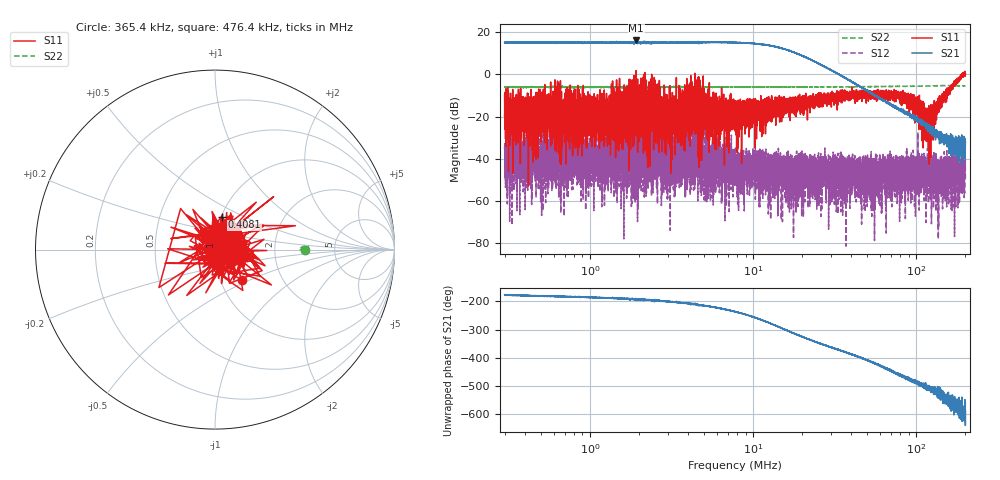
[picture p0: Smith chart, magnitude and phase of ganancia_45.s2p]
# Hz S DB R 50
! CMT, M5065, 19127446, 24.2.4/2
! Date: 11/1/2024 3:39:52 PM
! Data: Format (Calibration Info)
! Freq	S11:dB/Ang(F2)	S21:dB/Ang(F2)	S12:dB/Ang(F2)	S22:dB/Ang(F2)
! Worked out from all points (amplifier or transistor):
!   9000 points, 300 kHz to 200 MHz, reference 50 ohm
!   highest |S21| = 16.1 dB at 1.92 MHz (marker M1)
!   |S21| within 3 dB of that: start of sweep to 13.73 MHz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
!   unconditionally stable (mu >= 1): 796.9 kHz to 1.517 MHz; 2.595 MHz to 3.351 MHz; 5.306 MHz to 190.6 MHz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
!   at 886.8 kHz: K = 2.45, MAG = 16.4 dB, |S12| = -31.1 dB
!   at 7.749 MHz: K = 25.38, MAG = 16.6 dB, |S12| = -52.1 dB
!   at 200 MHz: K = -130.26, MSG = 9.0 dB, |S12| = -49.9 dB
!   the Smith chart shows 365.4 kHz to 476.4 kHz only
!   S11 on the Smith chart (normalised r, x): 365.4 kHz: 1.27, -0.46; 408.1 kHz: 1.01, +0.38; 476.4 kHz: 1.26, -0.02
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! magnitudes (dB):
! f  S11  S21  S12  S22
! 300 kHz  -19.4  15.1  -35.5  -6.0
! 314 kHz  -18.2  15.1  -39.1  -6.1
! 365.4 kHz  -12.8  15.1  -39.9  -6.0
! 408.1 kHz  -14.7  15.2  -53.3  -6.1
! 476.4 kHz  -18.6  15.1  -39.5  -6.0
! 886.8 kHz  -26.6  15.1  -31.1  -6.1
! 1.92 MHz  1.8  16.1  -24.9  -6.5
! 2.103 MHz  -17.1  15.0  -46.4  -6.0
! 2.198 MHz  -21.5  15.0  -35.0  -6.0
! 2.339 MHz  -16.6  15.1  -38.3  -6.1
! 2.621 MHz  -4.8  14.8  -33.4  -5.9
! 3.049 MHz  -30.2  15.1  -38.8  -6.0
! 4.579 MHz  -3.8  15.1  -39.4  -6.1
! 7.749 MHz  -14.5  15.1  -52.1  -6.0
! 13.68 MHz  -15.0  13.1  -48.2  -6.0
! 22.91 MHz  -10.5  6.9  -51.3  -6.0
! 67.71 MHz  -9.2  -13.7  -50.7  -5.7
! 94.4 MHz  -12.5  -19.8  -42.3  -5.6
! 120.4 MHz  -21.6  -24.3  -51.2  -5.5
! 148 MHz  -10.4  -33.3  -50.3  -5.3
! 173.6 MHz  -4.0  -33.9  -43.7  -5.4
! 200 MHz  0.1  -31.8  -49.9  -5.4
